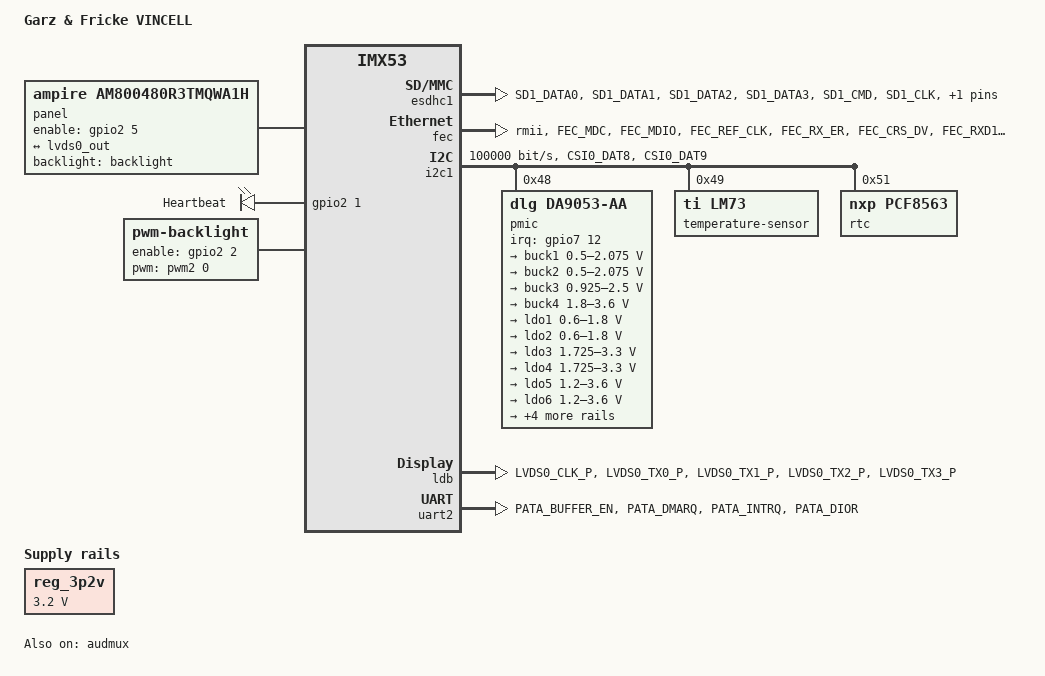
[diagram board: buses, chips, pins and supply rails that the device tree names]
/*
 * Copyright 2012 Pengutronix
 * Copyright 2011 Freescale Semiconductor, Inc.
 * Copyright 2011 Linaro Ltd.
 *
 * The code contained herein is licensed under the GNU General Public
 * License. You may obtain a copy of the GNU General Public License
 * Version 2 or later at the following locations:
 *
 * http://www.opensource.org/licenses/gpl-license.html
 * http://www.gnu.org/copyleft/gpl.html
 */

/dts-v1/;
#include "imx53.dtsi"
#include <arm/imx53.dtsi>
#include <dt-bindings/gpio/gpio.h>
#include <dt-bindings/interrupt-controller/irq.h>

/ {
	model = "Garz & Fricke VINCELL";
	compatible = "guf,imx53-vincell", "fsl,imx53";

	chosen {
		linux,stdout-path = &uart2;
	};

	clocks {
		ckih1 {
			clock-frequency = <0>;
		};
	};

	panel: panel {
		compatible = "ampire,am800480r3tmqwa1h", "simple-panel";
		enable-gpios = <&gpio2 5 GPIO_ACTIVE_HIGH>;
		backlight = <&backlight>;

		port {
			panel_in: endpoint {
				remote-endpoint = <&lvds0_out>;
			};
		};
	};

	leds {
		compatible = "gpio-leds";

		user {
			label = "Heartbeat";
			gpios = <&gpio2 1 GPIO_ACTIVE_HIGH>;
			linux,default-trigger = "heartbeat";
		};
	};

	backlight: backlight {
		compatible = "pwm-backlight";
		pwms = <&pwm2 0 50000>;
		brightness-levels = <0 4 8 16 32 64 128 255>;
		default-brightness-level = <6>;
		enable-gpios = <&gpio2 2 GPIO_ACTIVE_HIGH>;
	};

	regulators {
		compatible = "simple-bus";

		reg_3p2v: 3p2v {
			compatible = "regulator-fixed";
			regulator-name = "3P2V";
			regulator-min-microvolt = <3200000>;
			regulator-max-microvolt = <3200000>;
			regulator-always-on;
		};
	};
};

&audmux {
	pinctrl-names = "default";
	pinctrl-0 = <&pinctrl_audmux>;
	status = "okay";
};

&esdhc1 {
	pinctrl-names = "default";
	pinctrl-0 = <&pinctrl_esdhc1>;
	cd-gpios = <&gpio2 6 GPIO_ACTIVE_HIGH>;
	status = "okay";
};

&fec {
	pinctrl-names = "default";
	pinctrl-0 = <&pinctrl_fec>;
	phy-mode = "rmii";
	phy-reset-gpios = <&gpio7 6 GPIO_ACTIVE_HIGH>;
	status = "okay";
};

&i2c1 {
	pinctrl-names = "default";
	pinctrl-0 = <&pinctrl_i2c1>;
	bitrate = <100000>;
	status = "okay";

	pmic: dialog@48 { /* DA9053-3HHA1 PMIC */
		compatible = "dlg,da9053-aa", "dlg,da9052";
		reg = <0x48>;
		interrupt-parent = <&gpio7>;
		interrupts = <12 IRQ_TYPE_LEVEL_LOW>;

		regulators {
			buck1 { /* CORE */
				regulator-min-microvolt = <500000>;
				regulator-max-microvolt = <2075000>;
				regulator-always-on;
				regulator-boot-on;
			};

			buck2 { /* PRO */
				regulator-min-microvolt = <500000>;
				regulator-max-microvolt = <2075000>;
				regulator-always-on;
				regulator-boot-on;
			};

			buck3 { /* MEM */
				regulator-min-microvolt = <925000>;
				regulator-max-microvolt = <2500000>;
				regulator-always-on;
				regulator-boot-on;
			};

			buck4 { /* PERI */
				regulator-min-microvolt = <1800000>;
				regulator-max-microvolt = <3600000>;
				regulator-always-on;
				regulator-boot-on;
			};

			ldo1 {
				regulator-min-microvolt = <600000>;
				regulator-max-microvolt = <1800000>;
				regulator-always-on;
				regulator-boot-on;
			};

			ldo2 {
				regulator-min-microvolt = <600000>;
				regulator-max-microvolt = <1800000>;
				regulator-always-on;
				regulator-boot-on;
			};

			ldo3 {
				regulator-min-microvolt = <1725000>;
				regulator-max-microvolt = <3300000>;
				regulator-always-on;
				regulator-boot-on;
			};

			ldo4 {
				regulator-min-microvolt = <1725000>;
				regulator-max-microvolt = <3300000>;
				regulator-always-on;
				regulator-boot-on;
			};

			ldo5 {
				regulator-min-microvolt = <1200000>;
				regulator-max-microvolt = <3600000>;
				regulator-always-on;
				regulator-boot-on;
			};

			ldo6 {
				regulator-min-microvolt = <1200000>;
				regulator-max-microvolt = <3600000>;
				regulator-always-on;
				regulator-boot-on;
			};

			ldo7 {
				regulator-min-microvolt = <1200000>;
				regulator-max-microvolt = <3600000>;
				regulator-always-on;
				regulator-boot-on;
			};

			ldo8 {
				regulator-min-microvolt = <1200000>;
				regulator-max-microvolt = <3600000>;
				regulator-always-on;
				regulator-boot-on;
			};

			ldo9 {
				regulator-min-microvolt = <1250000>;
				regulator-max-microvolt = <3650000>;
				regulator-always-on;
				regulator-boot-on;
			};

			ldo10 {
				regulator-min-microvolt = <1200000>;
				regulator-max-microvolt = <3600000>;
				regulator-always-on;
				regulator-boot-on;
			};
		};
	};

	temperature-sensor@49 {
		compatible = "ti,lm73";
		reg = <0x49>;
	};

	eeprom@50 {
		compatible = "st,m24c32";
		reg = <0x50>;
		status = "disabled";
	};

	rtc: nxp@51 {
		compatible = "nxp,pcf8563";
		reg = <0x51>;
	};
};

&i2c2 {
	pinctrl-names = "default";
	pinctrl-0 = <&pinctrl_i2c2>;
	bitrate = <100000>;
	status = "disabled";
};

&ldb {
	pinctrl-names = "default";
	pinctrl-0 = <&pinctrl_lvds0>;
	status = "okay";

	lvds-channel@0 {
		status = "okay";
		fsl,data-mapping = "jeida";
		fsl,data-width = <24>;

		port@1 {
			reg = <1>;

			lvds0_out: endpoint {
				remote-endpoint = <&panel_in>;
			};
		};
	};
};

&uart2 {
	pinctrl-names = "default";
	pinctrl-0 = <&pinctrl_uart2>;
	status = "okay";
};

&uart3 {
	pinctrl-names = "default";
	pinctrl-0 = <&pinctrl_uart3>;
	status = "disabled";
};

&iomuxc {
	pinctrl-names = "default";
	pinctrl-0 = <&pinctrl_hog>;

	imx53-vincell {
		pinctrl_hog: hoggrp {
			fsl,pins = <
				MX53_PAD_DISP0_DAT8__GPIO4_29		0x80000000
				MX53_PAD_DISP0_DAT14__GPIO5_8		0x80000000
				MX53_PAD_DISP0_DAT15__GPIO5_9		0x80000000
				MX53_PAD_DISP0_DAT16__GPIO5_10		0x80000000
				MX53_PAD_DISP0_DAT17__GPIO5_11		0x80000000
				MX53_PAD_CSI0_PIXCLK__GPIO5_18		0x80000000
				MX53_PAD_CSI0_MCLK__GPIO5_19		0x80000000
				MX53_PAD_CSI0_DATA_EN__GPIO5_20		0x80000000
				MX53_PAD_CSI0_VSYNC__GPIO5_21		0x80000000
				MX53_PAD_CSI0_DAT4__GPIO5_22		0x80000000
				MX53_PAD_CSI0_DAT5__GPIO5_23		0x80000000
				MX53_PAD_CSI0_DAT6__GPIO5_24		0x80000000
				MX53_PAD_EIM_EB2__GPIO2_30		0x80000000
				MX53_PAD_GPIO_10__GPIO4_0		0x80000000
				MX53_PAD_GPIO_11__GPIO4_1		0x80000000
				MX53_PAD_GPIO_12__GPIO4_2		0x80000000
				MX53_PAD_GPIO_13__GPIO4_3		0x80000000
				MX53_PAD_PATA_DIOW__GPIO6_17		0x80000000
				MX53_PAD_PATA_DMACK__GPIO6_18		0x80000000
				MX53_PAD_PATA_RESET_B__GPIO7_4		0x80000000
				MX53_PAD_PATA_IORDY__GPIO7_5		0x80000000
				MX53_PAD_PATA_DA_0__GPIO7_6		0x80000000
				MX53_PAD_PATA_DA_2__GPIO7_8		0x80000000
				MX53_PAD_PATA_DATA0__GPIO2_0		0x80000000
				MX53_PAD_PATA_DATA1__GPIO2_1		0x80000000
				MX53_PAD_PATA_DATA2__GPIO2_2		0x000001c5	/* BL_ON */
				MX53_PAD_PATA_DATA3__GPIO2_3		0x000000c4	/* SEL6_8 */
				MX53_PAD_PATA_DATA4__PATA_DATA_4	0x80000000
				MX53_PAD_PATA_DATA5__GPIO2_5		0x000000c4	/* LCD_ENA */
				MX53_PAD_PATA_DATA6__GPIO2_6		0x80000000
				MX53_PAD_PATA_DATA7__GPIO2_7		0x80000000
				MX53_PAD_PATA_DATA8__GPIO2_8		0x80000000
				MX53_PAD_PATA_DATA9__GPIO2_9		0x80000000
				MX53_PAD_PATA_DATA10__GPIO2_10		0x80000000
				MX53_PAD_PATA_DATA11__GPIO2_11		0x80000000
				MX53_PAD_PATA_DATA13__GPIO2_13		0x80000000
				MX53_PAD_PATA_DATA14__GPIO2_14		0x80000000
				MX53_PAD_PATA_DATA15__GPIO2_15		0x80000000
				MX53_PAD_SD2_CLK__GPIO1_10		0x80000000
				MX53_PAD_SD2_DATA3__GPIO1_12		0x80000000
				MX53_PAD_GPIO_2__GPIO1_2		0x80000000
				MX53_PAD_GPIO_4__GPIO1_4		0x80000000
				MX53_PAD_GPIO_17__GPIO7_12		0x000000e0	/* PMIC_nIRQ, 100 KOhm pull up */
				MX53_PAD_GPIO_18__GPIO7_13		0x80000000
				MX53_PAD_DISP0_DAT8__PWM1_PWMO		0x80000000
				MX53_PAD_DISP0_DAT9__PWM2_PWMO		0x000000c4	/* PWM2 out */
			>;
		};

		pinctrl_audmux: audmuxgrp {
			fsl,pins = <
				MX53_PAD_DISP0_DAT20__AUDMUX_AUD4_TXC	0x80000000
				MX53_PAD_DISP0_DAT21__AUDMUX_AUD4_TXD	0x80000000
				MX53_PAD_DISP0_DAT22__AUDMUX_AUD4_TXFS	0x80000000
				MX53_PAD_DISP0_DAT23__AUDMUX_AUD4_RXD	0x80000000
			>;
		};

		pinctrl_esdhc1: esdhc1grp {
			fsl,pins = <
				MX53_PAD_SD1_DATA0__ESDHC1_DAT0		0x1d5
				MX53_PAD_SD1_DATA1__ESDHC1_DAT1		0x1d5
				MX53_PAD_SD1_DATA2__ESDHC1_DAT2		0x1d5
				MX53_PAD_SD1_DATA3__ESDHC1_DAT3		0x1d5
				MX53_PAD_SD1_CMD__ESDHC1_CMD		0x1d5
				MX53_PAD_SD1_CLK__ESDHC1_CLK		0x1d5
			>;
		};

		pinctrl_fec: fecgrp {
			fsl,pins = <
				MX53_PAD_FEC_MDC__FEC_MDC		0x80000000
				MX53_PAD_FEC_MDIO__FEC_MDIO		0x80000000
				MX53_PAD_FEC_REF_CLK__FEC_TX_CLK	0x80000000
				MX53_PAD_FEC_RX_ER__FEC_RX_ER		0x80000000
				MX53_PAD_FEC_CRS_DV__FEC_RX_DV		0x80000000
				MX53_PAD_FEC_RXD1__FEC_RDATA_1		0x80000000
				MX53_PAD_FEC_RXD0__FEC_RDATA_0		0x80000000
				MX53_PAD_FEC_TX_EN__FEC_TX_EN		0x80000000
				MX53_PAD_FEC_TXD1__FEC_TDATA_1		0x80000000
				MX53_PAD_FEC_TXD0__FEC_TDATA_0		0x80000000
			>;
		};

		pinctrl_i2c1: i2c1grp {
			fsl,pins = <
				MX53_PAD_CSI0_DAT8__I2C1_SDA		0xc0000000
				MX53_PAD_CSI0_DAT9__I2C1_SCL		0xc0000000
			>;
		};

		pinctrl_i2c2: i2c2grp {
			fsl,pins = <
				MX53_PAD_KEY_ROW3__I2C2_SDA		0xc0000000
				MX53_PAD_KEY_COL3__I2C2_SCL		0xc0000000
			>;
		};

		pinctrl_uart2: uart2grp {
			fsl,pins = <
				MX53_PAD_PATA_BUFFER_EN__UART2_RXD_MUX	0x1c5
				MX53_PAD_PATA_DMARQ__UART2_TXD_MUX	0x1c5
				MX53_PAD_PATA_INTRQ__UART2_CTS		0x1c5
				MX53_PAD_PATA_DIOR__UART2_RTS		0x1c5
			>;
		};

		pinctrl_uart3: uart3grp {
			fsl,pins = <
				MX53_PAD_PATA_CS_0__UART3_TXD_MUX	0x1c5
				MX53_PAD_PATA_CS_1__UART3_RXD_MUX	0x1c5
			>;
		};

		pinctrl_lvds0: lvds0grp {
			fsl,pins = <
				MX53_PAD_LVDS0_CLK_P__LDB_LVDS0_CLK	0x80000000
				MX53_PAD_LVDS0_TX0_P__LDB_LVDS0_TX0	0x80000000
				MX53_PAD_LVDS0_TX1_P__LDB_LVDS0_TX1	0x80000000
				MX53_PAD_LVDS0_TX2_P__LDB_LVDS0_TX2	0x80000000
				MX53_PAD_LVDS0_TX3_P__LDB_LVDS0_TX3	0x80000000
			>;
		};
	};
};
